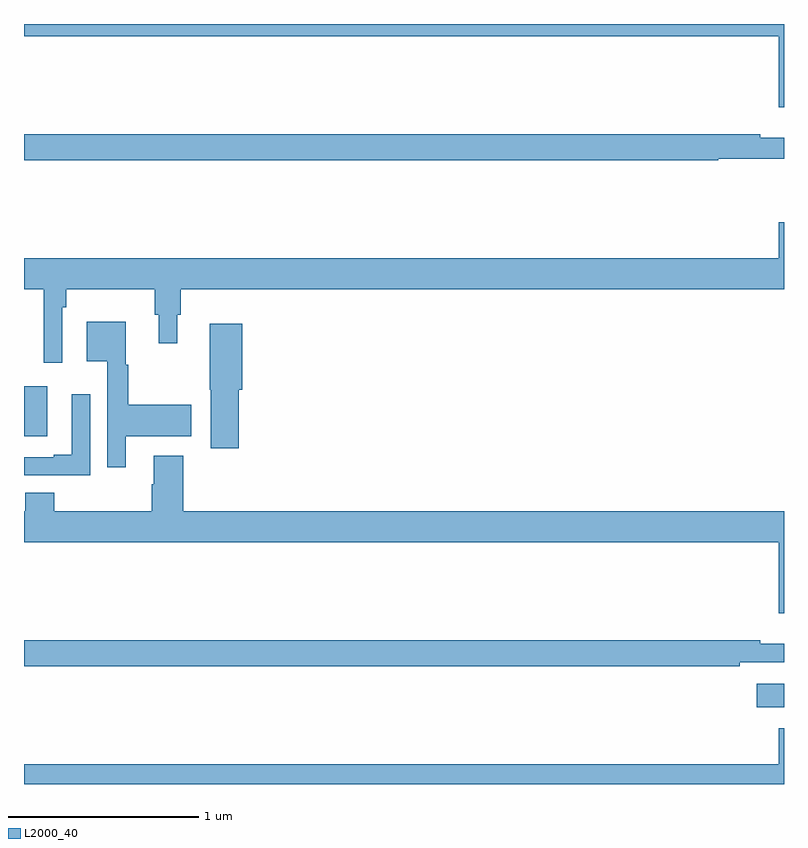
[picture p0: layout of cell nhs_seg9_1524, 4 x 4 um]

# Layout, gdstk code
import gdstk
lib = gdstk.Library(unit=1e-6, precision=1e-09)
def R(c, l, rs):  # rectangles x0, y0, x1, y1
    for r in rs: c.add(gdstk.rectangle(r[:2], r[2:], *l))
def P(c, l, *ps):  # polygons
    for p in ps: c.add(gdstk.Polygon(p, *l))
L2000_40 = (2000, 40)

nhs_seg9_1524 = lib.new_cell('nhs_seg9_1524')
R(nhs_seg9_1524, L2000_40, [(200.856,1176.905,201,1177.027), (197,1178.33,197.122,1178.593)])
P(nhs_seg9_1524, L2000_40, [(201,1180.5),(197,1180.5),(197,1180.436),(200.972,1180.436),(200.972,1180.062),(201,1180.062)],
  [(200.655,1179.792),(201,1179.792),(201,1179.901),(200.876,1179.901),(200.876,1179.92),(197,1179.92),(197,1179.784),(200.655,1179.784)],
  [(197.202,1179.008),(197.222,1179.008),(197.222,1179.104),(197.689,1179.104),(197.689,1178.97),(197.708,1178.97),(197.708,1178.82),(197.806,1178.82),(197.806,1178.97),(197.825,1178.97),(197.825,1179.104),(201,1179.104),(201,1179.457),(200.972,1179.457),(200.972,1179.268),(197,1179.268),(197,1179.104),(197.105,1179.104),(197.105,1178.718),(197.202,1178.718)],
  [(197.536,1178.33),(197.881,1178.33),(197.881,1178.496),(197.548,1178.496),(197.548,1178.706),(197.536,1178.706),(197.536,1178.932),(197.33,1178.932),(197.33,1178.726),(197.439,1178.726),(197.439,1178.166),(197.536,1178.166)],
  [(198.131,1178.574),(198.149,1178.574),(198.149,1178.923),(197.978,1178.923),(197.978,1178.574),(197.984,1178.574),(197.984,1178.268),(198.131,1178.268)],
  [(197.349,1178.551),(197.252,1178.551),(197.252,1178.233),(197.156,1178.233),(197.156,1178.22),(197,1178.22),(197,1178.124),(197.349,1178.124)],
  [(201,1177.936),(197.837,1177.936),(197.837,1178.227),(197.684,1178.227),(197.684,1178.078),(197.672,1178.078),(197.672,1177.936),(197.159,1177.936),(197.159,1178.034),(197.007,1178.034),(197.007,1177.936),(197,1177.936),(197,1177.772),(200.972,1177.772),(200.972,1177.398),(201,1177.398)],
  [(200.768,1177.14),(201,1177.14),(201,1177.237),(200.876,1177.237),(200.876,1177.256),(197,1177.256),(197,1177.12),(200.768,1177.12)],
  [(201,1176.793),(200.972,1176.793),(200.972,1176.604),(197,1176.604),(197,1176.5),(201,1176.5)])

lib.write_gds('nhs_seg9_1524.gds')
